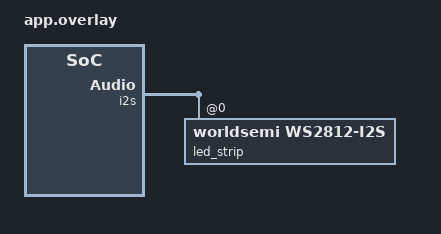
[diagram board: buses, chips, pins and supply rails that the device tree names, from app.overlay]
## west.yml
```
manifest:
  version: 0.13

  remotes:
    - name: zephyr
      url-base: https://github.com/zephyrproject-rtos

  projects:
    - name: zephyr
      remote: zephyr
      revision: v4.4.0
      path: zephyr
      import:
        name-allowlist:
          - hal_espressif
          - cmsis
          - toolchain-zephyr
          - segger
          - mbedtls
          - littlefs

  self:
    path: zephyr-blink
```

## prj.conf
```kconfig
CONFIG_GPIO=y
CONFIG_MAIN_STACK_SIZE=2048
CONFIG_LOG=y
CONFIG_LED_STRIP=y
CONFIG_LED_STRIP_LOG_LEVEL_DBG=y
```

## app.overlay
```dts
/* / { */
/*     aliases { */
/*         led-strip = &led_strip; */
/*     }; */
/**/
/*     led_strip: ws2812 { */
/*         compatible = "worldsemi,ws2812-rgb"; */
/*         label = "WS2812"; */
/*         chain-length = <1>; */
/*         gpios = <&gpio0 8 GPIO_ACTIVE_HIGH>; */
/**/
/*         color-mapping = <1 0 2>; */
/*     }; */
/* }; */

/*
 * Copyright (c) 2025 Espressif Systems (Shanghai) Co., Ltd.
 *
 * SPDX-License-Identifier: Apache-2.0
 */

#include <zephyr/dt-bindings/led/led.h>

/ {
	aliases {
		led-strip = &led_strip;
	};
};

&i2s_default {
	group1 {
		pinmux = <I2S_O_SD_GPIO8>;
	};
};

i2s_led: &i2s {
	status = "okay";

	dmas = <&dma 3>;
	dma-names = "tx";

	led_strip: ws2812@0 {
		compatible = "worldsemi,ws2812-i2s";

		reg = <0>;
		chain-length = <1>;
		color-mapping = <LED_COLOR_ID_GREEN
				 LED_COLOR_ID_RED
				 LED_COLOR_ID_BLUE>;
		reset-delay = <500>;
	};
};

&dma {
	status = "okay";
};
```

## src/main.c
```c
#include <zephyr/kernel.h>
#include <zephyr/drivers/led_strip.h>
#include <zephyr/sys/printk.h>

#define STRIP_NODE DT_ALIAS(led_strip)

static const struct device *strip = DEVICE_DT_GET(STRIP_NODE);

int main(void) {
    printk("We're starting ..\r\n");

    if (!device_is_ready(strip)) {
        printk("LED strip device not ready\n");
        return 0;
    }

    struct led_rgb color_off   = { 0,  0,  0};
    struct led_rgb color_red   = { 0, 10,  0};
    struct led_rgb color_green = {10,  0,  0};
    struct led_rgb color_blue  = { 0,  0, 10};

    int state = 0;

    while (true) {
        switch (state) {
        case 0:
            led_strip_update_rgb(strip, &color_red, 1);
            printk("RED\n");
            break;
        case 1:
            led_strip_update_rgb(strip, &color_green, 1);
            printk("GREEN\n");
            break;
        case 2:
            led_strip_update_rgb(strip, &color_blue, 1);
            printk("BLUE\n");
            break;
        default:
            led_strip_update_rgb(strip, &color_off, 1);
            printk("OFF\n");
            break;
        }

        state = (state + 1) % 4;
        k_msleep(500);
    }
}
```
